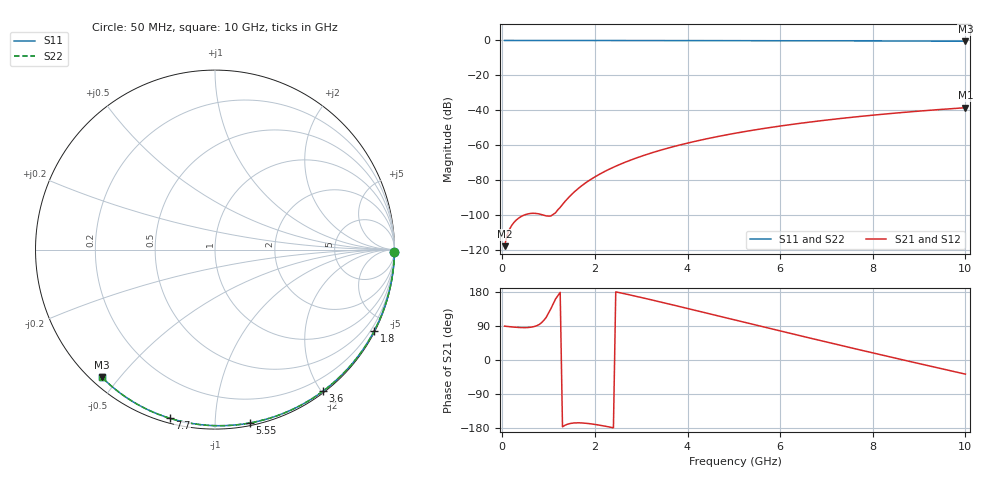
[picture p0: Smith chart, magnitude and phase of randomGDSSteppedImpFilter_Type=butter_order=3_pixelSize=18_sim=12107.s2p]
! freq	dB(S11)	phase(S11)	dB(S12)	phase(S12)
!  dB(S21)	phase(S21)	dB(S22)	phase(S22)
!S-par simulation data
#  GHz  S  DB  R 50
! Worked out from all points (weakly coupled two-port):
!   200 points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, 50 MHz to 10 GHz, reference 50 ohm
!   highest |S21| = -38.53 dB at 10 GHz (marker M1); lowest = -117.8 dB at 50 MHz (marker M2)
!   lowest |S11| = -0.4 dB at 10 GHz (marker M3), VSWR 39.20, Z = 1.53 - j22.5 ohm
!   |S11| at or under -10 dB: nowhere
!   |S22| runs from -0.4 to 0.0 dB; largest |S21 - S12| = 0
!   S11 on the Smith chart (normalised r, x): 50 MHz: open; 1.8 GHz: 0.04, -4.17; 3.6 GHz: 0.02, -2.02; 5.55 GHz: 0.02, -1.22; 7.7 GHz: 0.02, -0.77; 10 GHz: 0.03, -0.45
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0.05  -0.00 -0.8  -117.83 89.3  -117.83 89.3  -0.00 -0.8
0.45  -0.01 -6.8  -100.27 85.4  -100.27 85.4  -0.01 -6.8
0.9  -0.02 -13.6  -100.15 105.2  -100.15 105.2  -0.02 -13.6
1.75  -0.03 -26.2  -82.52 -166.4  -82.52 -166.4  -0.03 -26.2
1.8  -0.03 -26.9  -81.56 -166.9  -81.56 -166.9  -0.03 -26.9
1.9  -0.04 -28.4  -79.78 -168.2  -79.78 -168.2  -0.04 -28.4
2.05  -0.04 -30.6  -77.36 -171.0  -77.36 -171.0  -0.04 -30.6
2.25  -0.04 -33.5  -74.52 -175.3  -74.52 -175.3  -0.04 -33.5
2.45  -0.05 -36.4  -72.01 179.8  -72.01 179.8  -0.05 -36.4
2.65  -0.05 -39.3  -69.77 174.6  -69.77 174.6  -0.05 -39.3
3  -0.06 -44.3  -66.34 165.0  -66.34 165.0  -0.06 -44.3
3.4  -0.07 -49.9  -62.99 153.6  -62.99 153.6  -0.07 -49.9
3.6  -0.07 -52.7  -61.49 147.7  -61.49 147.7  -0.07 -52.7
4.3  -0.09 -62.3  -56.97 127.1  -56.97 127.1  -0.09 -62.3
5.05  -0.11 -72.2  -53.04 104.9  -53.04 104.9  -0.11 -72.2
5.55  -0.13 -78.7  -50.82 90.0  -50.82 90.0  -0.13 -78.7
6.1  -0.15 -85.7  -48.64 73.8  -48.64 73.8  -0.15 -85.7
6.7  -0.18 -93.1  -46.55 56.2  -46.55 56.2  -0.18 -93.1
7.7  -0.24 -105.1  -43.58 27.3  -43.58 27.3  -0.24 -105.1
8.35  -0.29 -112.7  -41.93 8.8  -41.93 8.8  -0.29 -112.7
9.15  -0.36 -121.9  -40.15 -13.7  -40.15 -13.7  -0.36 -121.9
10  -0.44 -131.5  -38.53 -37.3  -38.53 -37.3  -0.44 -131.5
